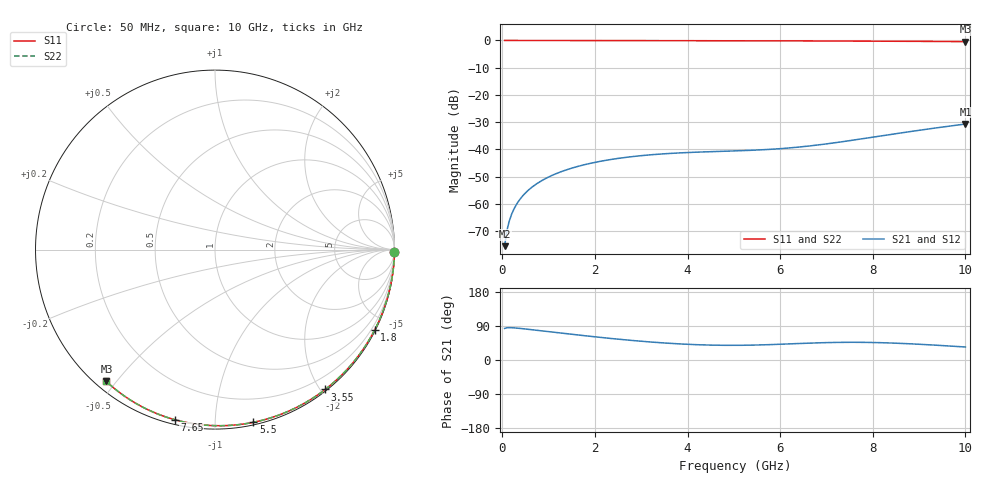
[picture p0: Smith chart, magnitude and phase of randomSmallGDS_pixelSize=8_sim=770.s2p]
! freq	dB(S11)	phase(S11)	dB(S12)	phase(S12)
!  dB(S21)	phase(S21)	dB(S22)	phase(S22)
!S-par simulation data
#  GHz  S  DB  R 50
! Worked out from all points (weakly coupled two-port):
!   200 points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, 50 MHz to 10 GHz, reference 50 ohm
!   highest |S21| = -30.69 dB at 10 GHz (marker M1); lowest = -75.6 dB at 50 MHz (marker M2)
!   lowest |S11| = -0.4 dB at 10 GHz (marker M3), VSWR 40.49, Z = 1.51 - j23.6 ohm
!   |S11| at or under -10 dB: nowhere
!   |S22| runs from -0.4 to 0.0 dB; largest |S21 - S12| = 0
!   S11 on the Smith chart (normalised r, x): 50 MHz: open; 1.8 GHz: 0.04, -4.19; 3.55 GHz: 0.02, -2.06; 5.5 GHz: 0.02, -1.25; 7.65 GHz: 0.02, -0.79; 10 GHz: 0.03, -0.47
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0.05  -0.00 -0.8  -75.56 83.3  -75.56 83.3  -0.00 -0.8
0.1  -0.00 -1.5  -69.82 85.1  -69.82 85.1  -0.00 -1.5
0.15  -0.00 -2.3  -66.37 85.4  -66.37 85.4  -0.00 -2.3
0.2  -0.00 -3.0  -63.89 85.2  -63.89 85.2  -0.00 -3.0
0.25  -0.00 -3.8  -61.97 84.9  -61.97 84.9  -0.00 -3.8
0.35  -0.00 -5.3  -59.07 83.8  -59.07 83.8  -0.00 -5.3
0.5  -0.01 -7.6  -56.00 81.8  -56.00 81.8  -0.01 -7.6
0.7  -0.01 -10.6  -53.14 79.1  -53.14 79.1  -0.01 -10.6
1  -0.02 -15.0  -50.15 74.8  -50.15 74.8  -0.02 -15.0
1.35  -0.03 -20.2  -47.72 69.9  -47.72 69.9  -0.03 -20.2
1.75  -0.03 -26.1  -45.74 64.5  -45.74 64.5  -0.03 -26.1
1.8  -0.03 -26.9  -45.53 63.8  -45.53 63.8  -0.03 -26.9
2.5  -0.05 -37.0  -43.32 55.0  -43.32 55.0  -0.05 -37.0
3.4  -0.07 -49.7  -41.74 45.7  -41.74 45.7  -0.07 -49.7
3.55  -0.07 -51.7  -41.57 44.5  -41.57 44.5  -0.07 -51.7
4.3  -0.09 -61.9  -40.96 40.0  -40.96 40.0  -0.09 -61.9
5.05  -0.11 -71.7  -40.55 38.7  -40.55 38.7  -0.11 -71.7
5.5  -0.12 -77.5  -40.25 39.5  -40.25 39.5  -0.12 -77.5
6.7  -0.18 -92.2  -38.62 44.8  -38.62 44.8  -0.18 -92.2
7.65  -0.23 -103.4  -36.43 46.7  -36.43 46.7  -0.23 -103.4
8.35  -0.28 -111.3  -34.62 45.0  -34.62 45.0  -0.28 -111.3
10  -0.43 -129.5  -30.69 34.3  -30.69 34.3  -0.43 -129.5
